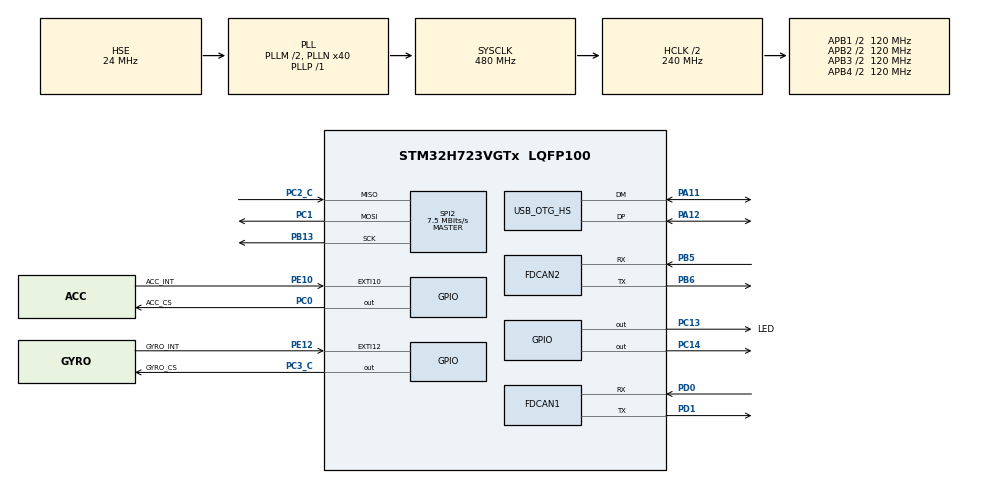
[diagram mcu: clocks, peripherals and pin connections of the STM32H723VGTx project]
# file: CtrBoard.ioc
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CORTEX_M7.CPU_DCache=Disabled
CORTEX_M7.CPU_ICache=Disabled
Dma.Request0=SPI2_RX
Dma.Request1=SPI2_TX
Dma.SPI2_RX.0.Direction=DMA_PERIPH_TO_MEMORY
Dma.SPI2_RX.0.EventEnable=DISABLE
Dma.SPI2_RX.0.FIFOMode=DMA_FIFOMODE_DISABLE
Dma.SPI2_RX.0.Instance=DMA1_Stream0
Dma.SPI2_RX.0.MemDataAlignment=DMA_MDATAALIGN_BYTE
Dma.SPI2_RX.0.MemInc=DMA_MINC_ENABLE
Dma.SPI2_RX.0.Mode=DMA_NORMAL
Dma.SPI2_RX.0.PeriphDataAlignment=DMA_PDATAALIGN_BYTE
Dma.SPI2_RX.0.PeriphInc=DMA_PINC_DISABLE
Dma.SPI2_RX.0.Polarity=HAL_DMAMUX_REQ_GEN_RISING
Dma.SPI2_RX.0.Priority=DMA_PRIORITY_VERY_HIGH
Dma.SPI2_RX.0.RequestNumber=1
Dma.SPI2_RX.0.SignalID=NONE
Dma.SPI2_RX.0.SyncEnable=DISABLE
Dma.SPI2_RX.0.SyncPolarity=HAL_DMAMUX_SYNC_NO_EVENT
Dma.SPI2_RX.0.SyncRequestNumber=1
Dma.SPI2_RX.0.SyncSignalID=NONE
Dma.SPI2_TX.1.Direction=DMA_MEMORY_TO_PERIPH
Dma.SPI2_TX.1.EventEnable=DISABLE
Dma.SPI2_TX.1.FIFOMode=DMA_FIFOMODE_DISABLE
Dma.SPI2_TX.1.Instance=DMA1_Stream1
Dma.SPI2_TX.1.MemDataAlignment=DMA_MDATAALIGN_BYTE
Dma.SPI2_TX.1.MemInc=DMA_MINC_ENABLE
Dma.SPI2_TX.1.Mode=DMA_NORMAL
Dma.SPI2_TX.1.PeriphDataAlignment=DMA_PDATAALIGN_BYTE
Dma.SPI2_TX.1.PeriphInc=DMA_PINC_DISABLE
Dma.SPI2_TX.1.Polarity=HAL_DMAMUX_REQ_GEN_RISING
Dma.SPI2_TX.1.Priority=DMA_PRIORITY_HIGH
Dma.SPI2_TX.1.RequestNumber=1
Dma.SPI2_TX.1.SignalID=NONE
Dma.SPI2_TX.1.SyncEnable=DISABLE
Dma.SPI2_TX.1.SyncPolarity=HAL_DMAMUX_SYNC_NO_EVENT
Dma.SPI2_TX.1.SyncRequestNumber=1
Dma.SPI2_TX.1.SyncSignalID=NONE
FDCAN1.AutoRetransmission=ENABLE
FDCAN1.CalculateBaudRateNominal=1000000
FDCAN1.CalculateTimeBitNominal=1000
FDCAN1.CalculateTimeQuantumNominal=12.5
FDCAN1.DataPrescaler=1
FDCAN1.DataSyncJumpWidth=2
FDCAN1.DataTimeSeg1=13
FDCAN1.DataTimeSeg2=2
FDCAN1.ExtFiltersNbr=4
FDCAN1.FrameFormat=FDCAN_FRAME_FD_BRS
FDCAN1.MessageRAMOffset=0
FDCAN1.NominalPrescaler=1
FDCAN1.NominalSyncJumpWidth=20
FDCAN1.NominalTimeSeg1=59
FDCAN1.NominalTimeSeg2=20
FDCAN1.ProtocolException=ENABLE
FDCAN1.RxBufferSize=FDCAN_DATA_BYTES_8
FDCAN1.RxBuffersNbr=2
FDCAN1.RxFifo0ElmtSize=FDCAN_DATA_BYTES_8
FDCAN1.RxFifo0ElmtsNbr=10
FDCAN1.RxFifo1ElmtSize=FDCAN_DATA_BYTES_8
FDCAN1.RxFifo1ElmtsNbr=10
FDCAN1.StdFiltersNbr=4
FDCAN1.TxBuffersNbr=10
FDCAN1.TxElmtSize=FDCAN_DATA_BYTES_8
FDCAN1.TxEventsNbr=10
FDCAN1.TxFifoQueueElmtsNbr=10
FDCAN2.AutoRetransmission=ENABLE
FDCAN2.CalculateBaudRateNominal=1000000
FDCAN2.CalculateTimeBitNominal=1000
FDCAN2.CalculateTimeQuantumNominal=12.5
FDCAN2.DataSyncJumpWidth=2
FDCAN2.DataTimeSeg1=13
FDCAN2.DataTimeSeg2=2
FDCAN2.ExtFiltersNbr=4
FDCAN2.FrameFormat=FDCAN_FRAME_FD_BRS
FDCAN2.MessageRAMOffset=1280
FDCAN2.NominalPrescaler=1
FDCAN2.NominalSyncJumpWidth=20
FDCAN2.NominalTimeSeg1=59
FDCAN2.NominalTimeSeg2=20
FDCAN2.ProtocolException=ENABLE
FDCAN2.RxBuffersNbr=2
FDCAN2.RxFifo0ElmtsNbr=10
FDCAN2.RxFifo1ElmtsNbr=10
FDCAN2.StdFiltersNbr=4
FDCAN2.TxBuffersNbr=10
FDCAN2.TxEventsNbr=10
FDCAN2.TxFifoQueueElmtsNbr=10
FREERTOS.MEMORY_ALLOCATION=1
FREERTOS.Queues01=Ctrl,16,uint16_t,0,Static,myQueue01Buffer,myQueue01ControlBlock
FREERTOS.Tasks01=defaultTask,24,128,StartDefaultTask,Default,NULL,Static,defaultTaskBuffer,defaultTaskControlBlock;Calculator,48,512,T_Calculator,Default,NULL,Static,CalculatorBuffer,CalculatorControlBlock;Motor_Control,48,512,T_Motor_Control,Default,NULL,Static,Motor_ControlBuffer,Motor_ControlControlBlock;USER,48,128,T_USER,Default,NULL,Static,USERBuffer,USERControlBlock;Sensor,48,512,T_Sensor,Default,NULL,Static,SensorBuffer,SensorControlBlock;Commu,53,256,T_Commu,Default,NULL,Static,myTask06Buffer,myTask06ControlBlock
Mcu.Family=STM32H7
Mcu.Name=STM32H723VGTx
Mcu.Package=LQFP100
NVIC.DMA1_Stream0_IRQn=true\:5\:0\:false\:false\:true\:true\:false\:true\:true
NVIC.DMA1_Stream1_IRQn=true\:5\:0\:false\:false\:true\:true\:false\:true\:true
NVIC.EXTI15_10_IRQn=true\:5\:0\:true\:false\:true\:true\:true\:true\:true
NVIC.FDCAN1_IT0_IRQn=true\:5\:0\:false\:false\:true\:true\:true\:true\:true
NVIC.FDCAN1_IT1_IRQn=true\:5\:0\:false\:false\:true\:true\:true\:true\:true
NVIC.FDCAN2_IT0_IRQn=true\:5\:0\:false\:false\:true\:true\:true\:true\:true
NVIC.FDCAN2_IT1_IRQn=true\:5\:0\:false\:false\:true\:true\:true\:true\:true
NVIC.FDCAN_CAL_IRQn=true\:5\:0\:false\:false\:true\:true\:true\:true\:true
NVIC.OTG_HS_IRQn=true\:5\:0\:false\:false\:true\:true\:true\:true\:true
NVIC.PriorityGroup=NVIC_PRIORITYGROUP_4
NVIC.SPI2_IRQn=true\:5\:0\:false\:false\:true\:true\:true\:true\:true
NVIC.TIM1_UP_IRQn=true\:15\:0\:true\:false\:true\:false\:false\:true\:true
NVIC.TIM3_IRQn=true\:5\:0\:false\:false\:true\:true\:true\:true\:true
NVIC.TIM4_IRQn=true\:5\:0\:false\:false\:true\:true\:true\:true\:true
NVIC.TimeBase=TIM1_UP_IRQn
NVIC.TimeBaseIP=TIM1
PA11.Mode=Device_Only_FS
PA11.Signal=USB_OTG_HS_DM
PA12.Mode=Device_Only_FS
PA12.Signal=USB_OTG_HS_DP
PA13(JTMS/SWDIO).Mode=Serial_Wire
PA13(JTMS/SWDIO).Signal=DEBUG_JTMS-SWDIO
PA14(JTCK/SWCLK).Mode=Serial_Wire
PA14(JTCK/SWCLK).Signal=DEBUG_JTCK-SWCLK
PB13.GPIO_Speed=GPIO_SPEED_FREQ_VERY_HIGH
PB13.Mode=Full_Duplex_Master
PB13.Signal=SPI2_SCK
PB5.Mode=FDCAN_Activate
PB5.Signal=FDCAN2_RX
PB6.Mode=FDCAN_Activate
PB6.Signal=FDCAN2_TX
PC0.GPIO_Label=ACC_CS
PC0.GPIO_Speed=GPIO_SPEED_FREQ_VERY_HIGH
PC0.PinState=GPIO_PIN_SET
PC0.Signal=GPIO_Output
PC1.GPIO_Speed=GPIO_SPEED_FREQ_VERY_HIGH
PC1.Mode=Full_Duplex_Master
PC1.Signal=SPI2_MOSI
PC13.GPIO_Label=LED
PC13.PinState=GPIO_PIN_RESET
PC13.Signal=GPIO_Output
PC14-OSC32_IN.Signal=GPIO_Output
PC2_C.GPIO_Speed=GPIO_SPEED_FREQ_VERY_HIGH
PC2_C.Mode=Full_Duplex_Master
PC2_C.Signal=SPI2_MISO
PC3_C.GPIO_Label=GYRO_CS
PC3_C.GPIO_Speed=GPIO_SPEED_FREQ_VERY_HIGH
PC3_C.PinState=GPIO_PIN_SET
PC3_C.Signal=GPIO_Output
PD0.Mode=FDCAN_Activate
PD0.Signal=FDCAN1_RX
PD1.Mode=FDCAN_Activate
PD1.Signal=FDCAN1_TX
PE10.GPIO_Label=ACC_INT
PE10.Signal=GPXTI10
PE12.GPIO_Label=GYRO_INT
PE12.Signal=GPXTI12
PH0-OSC_IN.Mode=HSE-External-Oscillator
PH0-OSC_IN.Signal=RCC_OSC_IN
PH1-OSC_OUT.Mode=HSE-External-Oscillator
PH1-OSC_OUT.Signal=RCC_OSC_OUT
ProjectManager.HeapSize=0x2000
ProjectManager.StackSize=0x400
ProjectManager.TargetToolchain=MDK-ARM V5.32
RCC.ADCFreq_Value=48375000
RCC.APB1Freq_Value=120000000
RCC.APB2Freq_Value=120000000
RCC.APB3Freq_Value=120000000
RCC.APB4Freq_Value=120000000
RCC.CortexFreq_Value=480000000
RCC.D1PPRE=RCC_APB3_DIV2
RCC.D2PPRE1=RCC_APB1_DIV2
RCC.D2PPRE2=RCC_APB2_DIV2
RCC.D3PPRE=RCC_APB4_DIV2
RCC.DIVM1=2
RCC.DIVM3=2
RCC.DIVN1=40
RCC.DIVN3=40
RCC.DIVP1=1
RCC.DIVQ1=6
RCC.HCLKFreq_Value=240000000
RCC.HPRE=RCC_HCLK_DIV2
RCC.HSE_VALUE=24000000
RCC.PLL2FRACN=0
RCC.PLL3FRACN=0
RCC.PLLFRACN=0
RCC.PLLSourceVirtual=RCC_PLLSOURCE_HSE
RCC.RCC_MCO1Source=RCC_MCO1SOURCE_HSE
RCC.RNGEnable-ClockTree=true
RCC.SPI123CLockSelection=RCC_SPI123CLKSOURCE_PLL3
RCC.SYSCLKFreq_VALUE=480000000
RCC.SYSCLKSource=RCC_SYSCLKSOURCE_PLLCLK
RCC.USBCLockSelection=RCC_USBCLKSOURCE_HSI48
RCC.USBFreq_Value=48000000
SPI2.BaudRatePrescaler=SPI_BAUDRATEPRESCALER_32
SPI2.CLKPhase=SPI_PHASE_2EDGE
SPI2.CLKPolarity=SPI_POLARITY_HIGH
SPI2.CalculateBaudRate=7.5 MBits/s
SPI2.DataSize=SPI_DATASIZE_8BIT
SPI2.Direction=SPI_DIRECTION_2LINES
SPI2.Mode=SPI_MODE_MASTER
SPI2.VirtualType=VM_MASTER
TIM3.Period=1000-1
TIM3.Prescaler=240-1
TIM4.Period=1000-1
TIM4.Prescaler=240-1
USB_DEVICE.CLASS_NAME_HS=CDC
USB_DEVICE.VirtualMode=Cdc
USB_DEVICE.VirtualModeHS=Cdc_HS
USB_OTG_HS.VirtualMode-Device_Only_FS=Device_Only_FS
VP_FREERTOS_VS_CMSIS_V2.Mode=CMSIS_V2
VP_MEMORYMAP_VS_MEMORYMAP.Mode=CurAppReg
VP_SYS_VS_tim1.Mode=TIM1
VP_TIM3_VS_ClockSourceINT.Mode=Internal
VP_TIM4_VS_ClockSourceINT.Mode=Internal
VP_USB_DEVICE_VS_USB_DEVICE_CDC_HS.Mode=CDC_HS
board=custom

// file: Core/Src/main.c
/* USER CODE BEGIN Header */
/**
 ******************************************************************************
 * @file           : main.c
 * @brief          : Main program body
 ******************************************************************************
 * @attention
 *
 * Copyright (c) 2024 STMicroelectronics.
 * All rights reserved.
 *
 * This software is licensed under terms that can be found in the LICENSE file
 * in the root directory of this software component.
 * If no LICENSE file comes with this software, it is provided AS-IS.
 *
 ******************************************************************************
 */
/* USER CODE END Header */
#include "main.h"
#include "cmsis_os.h"
#include "dma.h"
#include "fdcan.h"
#include "memorymap.h"
#include "spi.h"
#include "tim.h"
#include "usb_device.h"
#include "gpio.h"

void SystemClock_Config(void);
void MX_FREERTOS_Init(void);

int main(void)
{

    /* MCU Configuration--------------------------------------------------------*/

    /* Reset of all peripherals, Initializes the Flash interface and the Systick. */
    HAL_Init();

    /* Configure the system clock */
    SystemClock_Config();

    /* Initialize all configured peripherals */
    MX_GPIO_Init();
    MX_DMA_Init();
    MX_FDCAN1_Init();
    MX_TIM3_Init();
    MX_TIM4_Init();
    MX_FDCAN2_Init();
    MX_SPI2_Init();
    /* USER CODE BEGIN 2 */
    HAL_GPIO_WritePin(GPIOC, GPIO_PIN_13, GPIO_PIN_RESET); // Enable SPI2
    HAL_GPIO_WritePin(GPIOC, GPIO_PIN_14, GPIO_PIN_RESET); // Enable
    /* USER CODE END 2 */

    /* Init scheduler */
    osKernelInitialize();

    /* Call init function for freertos objects (in cmsis_os2.c) */
    MX_FREERTOS_Init();

    /* Start scheduler */
    osKernelStart();

    /* We should never get here as control is now taken by the scheduler */

    /* Infinite loop */
    while (1)
    {

    }
}

void SystemClock_Config(void)
{
    RCC_OscInitTypeDef RCC_OscInitStruct = {0};
    RCC_ClkInitTypeDef RCC_ClkInitStruct = {0};

    /** Supply configuration update enable
     */
    HAL_PWREx_ConfigSupply(PWR_LDO_SUPPLY);

    /** Configure the main internal regulator output voltage
     */
    __HAL_PWR_VOLTAGESCALING_CONFIG(PWR_REGULATOR_VOLTAGE_SCALE0);

    while (!__HAL_PWR_GET_FLAG(PWR_FLAG_VOSRDY))
    {
    }

    /** Initializes the RCC Oscillators according to the specified parameters
     * in the RCC_OscInitTypeDef structure.
     */
    RCC_OscInitStruct.OscillatorType = RCC_OSCILLATORTYPE_HSI48 | RCC_OSCILLATORTYPE_HSE;
    RCC_OscInitStruct.HSEState = RCC_HSE_ON;
    RCC_OscInitStruct.HSI48State = RCC_HSI48_ON;
    RCC_OscInitStruct.PLL.PLLState = RCC_PLL_ON;
    RCC_OscInitStruct.PLL.PLLSource = RCC_PLLSOURCE_HSE;
    RCC_OscInitStruct.PLL.PLLM = 2;
    RCC_OscInitStruct.PLL.PLLN = 40;
    RCC_OscInitStruct.PLL.PLLP = 1;
    RCC_OscInitStruct.PLL.PLLQ = 6;
    RCC_OscInitStruct.PLL.PLLR = 2;
    RCC_OscInitStruct.PLL.PLLRGE = RCC_PLL1VCIRANGE_3;
    RCC_OscInitStruct.PLL.PLLVCOSEL = RCC_PLL1VCOWIDE;
    RCC_OscInitStruct.PLL.PLLFRACN = 0;
    if (HAL_RCC_OscConfig(&RCC_OscInitStruct) != HAL_OK)
    {
        Error_Handler();
    }

    /** Initializes the CPU, AHB and APB buses clocks
     */
    RCC_ClkInitStruct.ClockType = RCC_CLOCKTYPE_HCLK | RCC_CLOCKTYPE_SYSCLK | RCC_CLOCKTYPE_PCLK1 | RCC_CLOCKTYPE_PCLK2 | RCC_CLOCKTYPE_D3PCLK1 | RCC_CLOCKTYPE_D1PCLK1;
    RCC_ClkInitStruct.SYSCLKSource = RCC_SYSCLKSOURCE_PLLCLK;
    RCC_ClkInitStruct.SYSCLKDivider = RCC_SYSCLK_DIV1;
    RCC_ClkInitStruct.AHBCLKDivider = RCC_HCLK_DIV2;
    RCC_ClkInitStruct.APB3CLKDivider = RCC_APB3_DIV2;
    RCC_ClkInitStruct.APB1CLKDivider = RCC_APB1_DIV2;
    RCC_ClkInitStruct.APB2CLKDivider = RCC_APB2_DIV2;
    RCC_ClkInitStruct.APB4CLKDivider = RCC_APB4_DIV2;

    if (HAL_RCC_ClockConfig(&RCC_ClkInitStruct, FLASH_LATENCY_3) != HAL_OK)
    {
        Error_Handler();
    }
}

void HAL_TIM_PeriodElapsedCallback(TIM_HandleTypeDef *htim)
{
    if (htim->Instance == TIM1)
    {
        HAL_IncTick();
    }
}

void Error_Handler(void)
{
    __disable_irq();
    while (1)
    {
    }
}

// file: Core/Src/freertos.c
/*
 * @Author: IcyClouda 2330329778@qq.com
 * @Date: 2025-06-28 05:19:17
 * @LastEditors: IcyClouda 2330329778@qq.com
 * @LastEditTime: 2025-07-02 00:06:49
 * @FilePath: \Wheeled Bipedal Robot\Core\Src\freertos.c
 * @Description: 这是默认设置,请设置`customMade`, 打开koroFileHeader查看配置 进行设置: https://github.com/OBKoro1/koro1FileHeader/wiki/%E9%85%8D%E7%BD%AE
 */
/*
 * @Author: IcyClouda 2330329778@qq.com
 * @Date: 2025-06-21 02:07:45
 * @LastEditors: IcyClouda 2330329778@qq.com
 * @LastEditTime: 2025-06-28 07:18:12
 * @FilePath: \Wheeled Bipedal Robot\Core\Src\freertos.c
 * @Description: 这是默认设置,请设置`customMade`, 打开koroFileHeader查看配置 进行设置: https://github.com/OBKoro1/koro1FileHeader/wiki/%E9%85%8D%E7%BD%AE
 */
/* USER CODE BEGIN Header */
/**
 ******************************************************************************
 * File Name          : freertos.c
 * Description        : Code for freertos applications
 ******************************************************************************
 * @attention
 *
 * Copyright (c) 2025 STMicroelectronics.
 * All rights reserved.
 *
 * This software is licensed under terms that can be found in the LICENSE file
 * in the root directory of this software component.
 * If no LICENSE file comes with this software, it is provided AS-IS.
 *
 ******************************************************************************
 */
/* USER CODE END Header */

#include "FreeRTOS.h"
#include "task.h"
#include "main.h"
#include "cmsis_os.h"

/* USER CODE BEGIN Includes */
#include "BMI088driver.h"
#include "bsp_fdcan.h"
#include "dm_motor_ctrl.h"
#include "vofa.h"
#include "usbd_cdc_if.h"
/* USER CODE END Includes */

typedef StaticTask_t osStaticThreadDef_t;
typedef StaticQueue_t osStaticMessageQDef_t;
#define USE_Reinforce_Learning 1

/* USER CODE BEGIN PM */
typedef struct
{
    float gyro[3];
    float accel[3];
    float pose[3];
    float temp;
} IMU_Dat;

typedef struct
{
    float MotorRoll;
    float MotorPitch;
    float MotorKnee;
    float MotorWheel;
} Motor_Dat;
typedef enum
{
    JointRoll = 3,
    JointPitch = 2,
    JointKnee = 1,
    JointWheel = 1
} Reduction_Ratio;

typedef struct
{
    //--------------pidp
    float kp;
    float ki;
    float kd;
    float f;
    //--------------pidv
    float dat;
    float target;
    float error;
    //----------------cal
    float integral;
    float diff;
    float l_dat;
    float l_target;
    float output;
    float PID_D;
    float PID_I;
    float PID_P;
    float l_output;
    //---------------max
    float max_output;
    float PID_P_MAX;
    float PID_I_MAX;
    float PID_D_MAX;
    float PID_INTG_MAX;
} PID_Para;
typedef enum
{
    Lost = 0,
    Established,
} Communication_Status;
typedef struct
{
    int Status; // 0: lost 1: established
    IMU_Dat IMU088;
    Motor_Dat Motor_Posi_Left;
    Motor_Dat Motor_Posi_Right;
    Motor_Dat Motor_Speed_Left;
    Motor_Dat Motor_Speed_Right;
    PID_Para PID_SPEED_Left[E_JOINT_NUM];
    PID_Para PID_SPEED_Right[E_JOINT_NUM];
    PID_Para PID_POSI_Left[E_JOINT_NUM];
    PID_Para PID_POSI_Right[E_JOINT_NUM];
    Motor_Dat Left_Motor_Torque_Output;
    Motor_Dat Right_Motor_Torque_Output;
    Motor_Dat Left_Motor_Position_Output;
    Motor_Dat Right_Motor_Position_Output;
} Sys_Dat;
/* USER CODE END PM */
/* USER CODE BEGIN Variables */
double PID_MAX(double OUTPUT, double MAX);
void PID_CAL(PID_Para *pid);
void PID_SET_P(PID_Para *pid, float KP, float KI, float KD);
void PID_INPUT_V(PID_Para *pid, float TARGET, float DAT);
void PID_SET_M(PID_Para *pid, float _PID_P_MAX, float _PID_I_MAX, float _PID_D_MAX, float _max_output, float _PID_INTG_MAX);
PID_Para PID_PITCH, PID_SPEED;
float a, b, c;
float speed = 0;
USB_TX_DataPacket Tx_data;
// float pitch_target = 0;
float Ctrl_Signal = 0;
extern int Ctrl_Count;
int Lost_Count = 0;
float DebugData[DEBUG_NUM] = {0}; // debug

Sys_Dat ROBOT;
/* USER CODE END Variables */
/* Definitions for defaultTask */
osThreadId_t defaultTaskHandle;
uint32_t defaultTaskBuffer[128];
osStaticThreadDef_t defaultTaskControlBlock;
const osThreadAttr_t defaultTask_attributes = {
    .name = "defaultTask",
    .cb_mem = &defaultTaskControlBlock,
    .cb_size = sizeof(defaultTaskControlBlock),
    .stack_mem = &defaultTaskBuffer[0],
    .stack_size = sizeof(defaultTaskBuffer),
    .priority = (osPriority_t)osPriorityNormal,
};
/* Definitions for Calculator */
osThreadId_t CalculatorHandle;
uint32_t CalculatorBuffer[512];
osStaticThreadDef_t CalculatorControlBlock;
const osThreadAttr_t Calculator_attributes = {
    .name = "Calculator",
    .cb_mem = &CalculatorControlBlock,
    .cb_size = sizeof(CalculatorControlBlock),
    .stack_mem = &CalculatorBuffer[0],
    .stack_size = sizeof(CalculatorBuffer),
    .priority = (osPriority_t)osPriorityRealtime,
};
/* Definitions for Motor_Control */
osThreadId_t Motor_ControlHandle;
uint32_t Motor_ControlBuffer[512];
osStaticThreadDef_t Motor_ControlControlBlock;
const osThreadAttr_t Motor_Control_attributes = {
    .name = "Motor_Control",
    .cb_mem = &Motor_ControlControlBlock,
    .cb_size = sizeof(Motor_ControlControlBlock),
    .stack_mem = &Motor_ControlBuffer[0],
    .stack_size = sizeof(Motor_ControlBuffer),
    .priority = (osPriority_t)osPriorityRealtime,
};
/* Definitions for USER */
osThreadId_t USERHandle;
uint32_t USERBuffer[128];
osStaticThreadDef_t USERControlBlock;
const osThreadAttr_t USER_attributes = {
    .name = "USER",
    .cb_mem = &USERControlBlock,
    .cb_size = sizeof(USERControlBlock),
    .stack_mem = &USERBuffer[0],
    .stack_size = sizeof(USERBuffer),
    .priority = (osPriority_t)osPriorityRealtime,
};
/* Definitions for Sensor */
osThreadId_t SensorHandle;
uint32_t SensorBuffer[512];
osStaticThreadDef_t SensorControlBlock;
const osThreadAttr_t Sensor_attributes = {
    .name = "Sensor",
    .cb_mem = &SensorControlBlock,
    .cb_size = sizeof(SensorControlBlock),
    .stack_mem = &SensorBuffer[0],
    .stack_size = sizeof(SensorBuffer),
    .priority = (osPriority_t)osPriorityRealtime,
};
/* Definitions for Commu */
osThreadId_t CommuHandle;
uint32_t myTask06Buffer[256];
osStaticThreadDef_t myTask06ControlBlock;
const osThreadAttr_t Commu_attributes = {
    .name = "Commu",
    .cb_mem = &myTask06ControlBlock,
    .cb_size = sizeof(myTask06ControlBlock),
    .stack_mem = &myTask06Buffer[0],
    .stack_size = sizeof(myTask06Buffer),
    .priority = (osPriority_t)osPriorityRealtime5,
};
/* Definitions for Ctrl */
osMessageQueueId_t CtrlHandle;
uint8_t myQueue01Buffer[16 * sizeof(uint16_t)];
osStaticMessageQDef_t myQueue01ControlBlock;
const osMessageQueueAttr_t Ctrl_attributes = {
    .name = "Ctrl",
    .cb_mem = &myQueue01ControlBlock,
    .cb_size = sizeof(myQueue01ControlBlock),
    .mq_mem = &myQueue01Buffer,
    .mq_size = sizeof(myQueue01Buffer)};

void StartDefaultTask(void *argument);
void T_Calculator(void *argument);
void T_Motor_Control(void *argument);
void T_USER(void *argument);
void T_Sensor(void *argument);
void T_Commu(void *argument);

extern void MX_USB_DEVICE_Init(void);
void MX_FREERTOS_Init(void); /* (MISRA C 2004 rule 8.1) */

void MX_FREERTOS_Init(void)
{

    /* Create the queue(s) */
    /* creation of Ctrl */
    CtrlHandle = osMessageQueueNew(16, sizeof(uint16_t), &Ctrl_attributes);

    /* Create the thread(s) */
    /* creation of defaultTask */
    defaultTaskHandle = osThreadNew(StartDefaultTask, NULL, &defaultTask_attributes);

    /* creation of Calculator */
    CalculatorHandle = osThreadNew(T_Calculator, NULL, &Calculator_attributes);

    /* creation of Motor_Control */
    Motor_ControlHandle = osThreadNew(T_Motor_Control, NULL, &Motor_Control_attributes);

    /* creation of USER */
    USERHandle = osThreadNew(T_USER, NULL, &USER_attributes);

    /* creation of Sensor */
    SensorHandle = osThreadNew(T_Sensor, NULL, &Sensor_attributes);

    /* creation of Commu */
    CommuHandle = osThreadNew(T_Commu, NULL, &Commu_attributes);

}

void StartDefaultTask(void *argument)
{
    /* init code for USB_DEVICE */
    MX_USB_DEVICE_Init();
    /* USER CODE BEGIN StartDefaultTask */
    /* Infinite loop */
    for (;;)
    {
        vTaskDelay(1);
    }
    /* USER CODE END StartDefaultTask */
}

/* USER CODE BEGIN Header_T_Calculator */
/**
 * @brief Function implementing the Calculator thread.
 * @param argument: Not used
 * @retval None
 */
float temp_target_left_posi[E_JOINT_NUM] = {0};
float temp_target_right_posi[E_JOINT_NUM] = {0};
/* USER CODE END Header_T_Calculator */
void T_Calculator(void *argument)
{
    /* USER CODE BEGIN T_Calculator */
    TickType_t lasttick = xTaskGetTickCount();
    volatile int ta = 1924;
    PID_SET_P(&PID_SPEED, -0, 0, 0);
    PID_SET_M(&PID_SPEED, 1.5, 0.1, 0, 1.5, 0.1);
    PID_SET_P(&PID_PITCH, 2.5, 0, 0);
    PID_SET_M(&PID_PITCH, 10, 0, 5, 5, 0);

    /* Infinite loop */
    for (;;)
    {
        if (USE_Reinforce_Learning)
        {
            ROBOT.Left_Motor_Position_Output.MotorRoll  = POLE_ROLL_L *RX_data.Re_tau[0];
            ROBOT.Left_Motor_Position_Output.MotorPitch = POLE_PITCH_L*RX_data.Re_tau[1];
            ROBOT.Left_Motor_Position_Output.MotorKnee  = POLE_KNEE_L *RX_data.Re_tau[2];
            ROBOT.Left_Motor_Position_Output.MotorWheel = POLE_WHEEL_L*RX_data.Re_tau[3];
            ROBOT.Right_Motor_Position_Output.MotorRoll = POLE_ROLL_R *RX_data.Re_tau[4];
            ROBOT.Right_Motor_Position_Output.MotorPitch= POLE_PITCH_R*RX_data.Re_tau[5];
            ROBOT.Right_Motor_Position_Output.MotorKnee = POLE_KNEE_R *RX_data.Re_tau[6];
            ROBOT.Right_Motor_Position_Output.MotorWheel= POLE_WHEEL_R*RX_data.Re_tau[7];
        }
        else
        {
            if (ROBOT.Status == Established)
            {
                temp_target_left_posi[E_ROLL] = 0.4 + c;
                temp_target_left_posi[E_PITCH] = 1.6 + a;
                temp_target_left_posi[E_KNEE] = -2.4 + b;
                temp_target_right_posi[E_ROLL] = 0.1 + c;
                temp_target_right_posi[E_PITCH] = 1.6 + a;
                temp_target_right_posi[E_KNEE] = -2.4 + b;

                PID_INPUT_V(&PID_SPEED, speed, ROBOT.Motor_Speed_Left.MotorWheel + ROBOT.Motor_Speed_Right.MotorWheel);
                PID_CAL(&PID_SPEED);
                PID_INPUT_V(&PID_PITCH, PID_SPEED.output, ROBOT.IMU088.pose[P_ROLL]);
                PID_CAL(&PID_PITCH);
                ROBOT.Left_Motor_Torque_Output.MotorWheel = -PID_PITCH.output;
                ROBOT.Right_Motor_Torque_Output.MotorWheel = -PID_PITCH.output;
                // ROBOT.Left_Motor_Torque_Output.MotorWheel = -PID_SPEED.output;
                // ROBOT.Right_Motor_Torque_Output.MotorWheel = -PID_SPEED.output;
                ROBOT.Left_Motor_Position_Output.MotorRoll = temp_target_left_posi[E_ROLL] * JointRoll;
                ROBOT.Left_Motor_Position_Output.MotorPitch = temp_target_left_posi[E_PITCH] * JointPitch;
                ROBOT.Left_Motor_Position_Output.MotorKnee = temp_target_left_posi[E_KNEE] * JointKnee;
                ROBOT.Left_Motor_Position_Output.MotorWheel = temp_target_left_posi[E_WHEEL] * JointWheel;
                ROBOT.Right_Motor_Position_Output.MotorRoll = temp_target_right_posi[E_ROLL] * JointRoll;
                ROBOT.Right_Motor_Position_Output.MotorPitch = temp_target_right_posi[E_PITCH] * JointPitch;
                ROBOT.Right_Motor_Position_Output.MotorKnee = temp_target_right_posi[E_KNEE] * JointKnee;
                ROBOT.Right_Motor_Position_Output.MotorWheel = temp_target_right_posi[E_WHEEL] * JointWheel;
            }
            else
            {
                temp_target_left_posi[E_ROLL] = ROBOT.Motor_Posi_Left.MotorRoll;
                temp_target_left_posi[E_PITCH] = ROBOT.Motor_Posi_Left.MotorPitch;
                temp_target_left_posi[E_KNEE] = ROBOT.Motor_Posi_Left.MotorKnee;
                temp_target_right_posi[E_ROLL] = ROBOT.Motor_Posi_Right.MotorRoll;
                temp_target_right_posi[E_PITCH] = ROBOT.Motor_Posi_Right.MotorPitch;
                temp_target_right_posi[E_KNEE] = ROBOT.Motor_Posi_Right.MotorKnee;
                ROBOT.Left_Motor_Torque_Output.MotorWheel = 0;
                ROBOT.Right_Motor_Torque_Output.MotorWheel = 0;
            }
            DebugData[0] = PID_PITCH.dat;
            DebugData[1] = PID_PITCH.PID_P;
            DebugData[2] = PID_PITCH.PID_D;
            DebugData[4] = PID_PITCH.output;
            DebugData[5] = ROBOT.IMU088.pose[P_ROLL];
        }
        vTaskDelay(1);
    }
    /* USER CODE END T_Calculator */
}

void T_Motor_Control(void *argument)
{
    /* USER CODE BEGIN T_Motor_Control */
    static int initialized = 0;
    vTaskDelay(500);
    bsp_fdcan_set_baud(&hfdcan1, CAN_CLASS, CAN_BR_1M);
    bsp_fdcan_set_baud(&hfdcan2, CAN_CLASS, CAN_BR_1M);
    bsp_can_init();

    dm_motor_init();
    vTaskDelay(100);
    dm_motor_disable(&hfdcan2, &L_motor[E_ROLL]);
    dm_motor_disable(&hfdcan1, &R_motor[E_ROLL]);
    vTaskDelay(1);
    dm_motor_disable(&hfdcan2, &L_motor[E_PITCH]);
    dm_motor_disable(&hfdcan1, &R_motor[E_PITCH]);
    vTaskDelay(1);
    dm_motor_disable(&hfdcan2, &L_motor[E_KNEE]);
    dm_motor_disable(&hfdcan1, &R_motor[E_KNEE]);
    vTaskDelay(1);
    dm_motor_disable(&hfdcan2, &L_motor[E_WHEEL]);
    dm_motor_disable(&hfdcan1, &R_motor[E_WHEEL]);
    /* Infinite loop */
    for (;;)
    {
        if (ROBOT.Status == Established)
        {

            if (!initialized)
            {
                dm_motor_enable(&hfdcan2, &L_motor[E_ROLL]);
                dm_motor_enable(&hfdcan1, &R_motor[E_ROLL]);
                vTaskDelay(1);
                dm_motor_enable(&hfdcan2, &L_motor[E_PITCH]);
                dm_motor_enable(&hfdcan1, &R_motor[E_PITCH]);
                vTaskDelay(1);
                dm_motor_enable(&hfdcan2, &L_motor[E_KNEE]);
                dm_motor_enable(&hfdcan1, &R_motor[E_KNEE]);
                vTaskDelay(1);
                dm_motor_enable(&hfdcan2, &L_motor[E_WHEEL]);
                dm_motor_enable(&hfdcan1, &R_motor[E_WHEEL]);
                vTaskDelay(1);
                initialized = 1; // 设置标志位
            }
            // 发送电机控制数据
            if (USE_Reinforce_Learning)
            {
                mit_ctrl(&L_motor[E_ROLL], 0, 0, ROBOT.Left_Motor_Torque_Output.MotorRoll);
                mit_ctrl(&R_motor[E_ROLL], 0, 0, ROBOT.Right_Motor_Torque_Output.MotorRoll);
                mit_ctrl(&L_motor[E_PITCH], 0, 0, ROBOT.Left_Motor_Torque_Output.MotorPitch);
                mit_ctrl(&R_motor[E_PITCH], 0, 0, ROBOT.Right_Motor_Torque_Output.MotorPitch);
                mit_ctrl(&L_motor[E_KNEE], 0, 0, ROBOT.Left_Motor_Torque_Output.MotorKnee);
                mit_ctrl(&R_motor[E_KNEE], 0, 0, ROBOT.Right_Motor_Torque_Output.MotorKnee);
                mit_ctrl(&L_motor[E_WHEEL], 0, 0, ROBOT.Left_Motor_Torque_Output.MotorWheel);
                mit_ctrl(&R_motor[E_WHEEL], 0, 0, ROBOT.Right_Motor_Torque_Output.MotorWheel);
            }
            else
            {
                mit_ctrl(&L_motor[E_ROLL], ROBOT.Left_Motor_Position_Output.MotorRoll, 0, 0);
                mit_ctrl(&R_motor[E_ROLL], -ROBOT.Right_Motor_Position_Output.MotorRoll, 0, 0);
                vTaskDelay(1);
                mit_ctrl(&L_motor[E_PITCH], ROBOT.Left_Motor_Position_Output.MotorPitch, 0, 0);
                mit_ctrl(&R_motor[E_PITCH], -ROBOT.Right_Motor_Position_Output.MotorPitch, 0, 0);
                vTaskDelay(1);
                mit_ctrl(&L_motor[E_KNEE], ROBOT.Left_Motor_Position_Output.MotorKnee, 0, 0);
                mit_ctrl(&R_motor[E_KNEE], -ROBOT.Right_Motor_Position_Output.MotorKnee, 0, 0);
                vTaskDelay(1);
                mit_ctrl(&L_motor[E_WHEEL], 0, 0, -ROBOT.Left_Motor_Torque_Output.MotorWheel);
                mit_ctrl(&R_motor[E_WHEEL], 0, 0, ROBOT.Right_Motor_Torque_Output.MotorWheel);
            }
        }

        else
        {
            initialized = 0;
            dm_motor_disable(&hfdcan2, &L_motor[E_ROLL]);
            dm_motor_disable(&hfdcan1, &R_motor[E_ROLL]);
            vTaskDelay(1);
            dm_motor_disable(&hfdcan2, &L_motor[E_PITCH]);
            dm_motor_disable(&hfdcan1, &R_motor[E_PITCH]);
            vTaskDelay(1);
            dm_motor_disable(&hfdcan2, &L_motor[E_KNEE]);
            dm_motor_disable(&hfdcan1, &R_motor[E_KNEE]);
            vTaskDelay(1);
            dm_motor_disable(&hfdcan2, &L_motor[E_WHEEL]);
            dm_motor_disable(&hfdcan1, &R_motor[E_WHEEL]);
        }
        vTaskDelay(1);
    }
    /* USER CODE END T_Motor_Control */
}

void T_USER(void *argument)
{
    /* USER CODE BEGIN T_USER */
    /* Infinite loop */
    for (;;)
    {
        vTaskDelay(1);
    }
    /* USER CODE END T_USER */
}

void T_Sensor(void *argument)
{
    /* USER CODE BEGIN T_Sensor */
    /* Infinite loop */
    vTaskDelay(500);

    while (BMI088_init())
    {
        ;
    }
    for (;;)
    {
        BMI088_read(ROBOT.IMU088.gyro, ROBOT.IMU088.accel, &ROBOT.IMU088.temp, ROBOT.IMU088.pose, 0.001);

        ROBOT.Motor_Posi_Left.MotorRoll = L_motor[E_ROLL].para.pos / JointRoll;
        ROBOT.Motor_Posi_Left.MotorPitch = L_motor[E_PITCH].para.pos / JointPitch;
        ROBOT.Motor_Posi_Left.MotorKnee = L_motor[E_KNEE].para.pos / JointKnee;
        ROBOT.Motor_Posi_Left.MotorWheel = L_motor[E_WHEEL].para.pos / JointWheel;

        ROBOT.Motor_Speed_Left.MotorRoll = L_motor[E_ROLL].para.vel / JointRoll;
        ROBOT.Motor_Speed_Left.MotorPitch = L_motor[E_PITCH].para.vel / JointPitch;
        ROBOT.Motor_Speed_Left.MotorKnee = L_motor[E_KNEE].para.vel / JointKnee;
        ROBOT.Motor_Speed_Left.MotorWheel = L_motor[E_WHEEL].para.vel / JointWheel;

        ROBOT.Motor_Posi_Right.MotorRoll = R_motor[E_ROLL].para.pos / -JointRoll;
        ROBOT.Motor_Posi_Right.MotorPitch = R_motor[E_PITCH].para.pos / -JointPitch;
        ROBOT.Motor_Posi_Right.MotorKnee = R_motor[E_KNEE].para.pos / -JointKnee;
        ROBOT.Motor_Posi_Right.MotorWheel = R_motor[E_WHEEL].para.pos / -JointWheel;

        ROBOT.Motor_Speed_Right.MotorRoll = R_motor[E_ROLL].para.vel / -JointRoll;
        ROBOT.Motor_Speed_Right.MotorPitch = R_motor[E_PITCH].para.vel / -JointPitch;
        ROBOT.Motor_Speed_Right.MotorKnee = R_motor[E_KNEE].para.vel / -JointKnee;
        ROBOT.Motor_Speed_Right.MotorWheel = R_motor[E_WHEEL].para.vel / -JointWheel;
        // vofa_demo();
        DebugData[5] = ROBOT.Left_Motor_Torque_Output.MotorWheel;
        // for (int i = 0; i < DEBUG_NUM; i++)
        //     vofa_send_data(i, DebugData[i]);
        // vofa_sendframetail();
        vTaskDelay(1);
    }
    /* USER CODE END T_Sensor */
}

int flag = 0;
void T_Commu(void *argument)
{
    /* USER CODE BEGIN T_Commu */
    static int lastCount = 0;
    uint8_t result;
    Tx_data.Head = 0x11;
    Tx_data.Tail = 0x99;
    /* Infinite loop */
    for (;;)
    {
        Tx_data.euler[0] = ROBOT.IMU088.pose[P_ROLL];
        Tx_data.euler[1] = ROBOT.IMU088.pose[P_PITCH];
        Tx_data.euler[2] = ROBOT.IMU088.pose[P_YAW];
        Tx_data.ang_vel[0] = ROBOT.IMU088.gyro[P_ROLL];
        Tx_data.ang_vel[1] = ROBOT.IMU088.gyro[P_PITCH];
        Tx_data.ang_vel[2] = ROBOT.IMU088.gyro[P_YAW];

        Tx_data.dof_pos[0] = POLE_ROLL_L * ROBOT.Motor_Posi_Left.MotorRoll;
        Tx_data.dof_pos[1] = POLE_PITCH_L * ROBOT.Motor_Posi_Left.MotorPitch;
        Tx_data.dof_pos[2] = POLE_KNEE_L * ROBOT.Motor_Posi_Left.MotorKnee;
        Tx_data.dof_pos[3] = POLE_WHEEL_L * ROBOT.Motor_Posi_Left.MotorWheel;
        Tx_data.dof_pos[4] = POLE_ROLL_R * ROBOT.Motor_Posi_Right.MotorRoll;
        Tx_data.dof_pos[5] = POLE_PITCH_R * ROBOT.Motor_Posi_Right.MotorPitch;
        Tx_data.dof_pos[6] = POLE_KNEE_R * ROBOT.Motor_Posi_Right.MotorKnee;
        Tx_data.dof_pos[7] = POLE_WHEEL_R * ROBOT.Motor_Posi_Right.MotorWheel;
        Tx_data.dof_vel[0] = POLE_ROLL_L * ROBOT.Motor_Speed_Left.MotorRoll;
        Tx_data.dof_vel[1] = POLE_PITCH_L * ROBOT.Motor_Speed_Left.MotorPitch;
        Tx_data.dof_vel[2] = POLE_KNEE_L * ROBOT.Motor_Speed_Left.MotorKnee;
        Tx_data.dof_vel[3] = POLE_WHEEL_L * ROBOT.Motor_Speed_Left.MotorWheel;
        Tx_data.dof_vel[4] = POLE_ROLL_R * ROBOT.Motor_Speed_Right.MotorRoll;
        Tx_data.dof_vel[5] = POLE_PITCH_R * ROBOT.Motor_Speed_Right.MotorPitch;
        Tx_data.dof_vel[6] = POLE_KNEE_R * ROBOT.Motor_Speed_Right.MotorKnee;
        Tx_data.dof_vel[7] = POLE_WHEEL_R * ROBOT.Motor_Speed_Right.MotorWheel;

        CDC_Transmit_HS((uint8_t *)&Tx_data,
                        sizeof(Tx_data));
        if (Ctrl_Count == lastCount)
        {
            if (Lost_Count++ > 150)
                Lost_Count = 150;
        }
        else
        {
            do
            {
                result = CDC_Transmit_HS((uint8_t *)&Tx_data,
                                         sizeof(Tx_data));
                if (result == USBD_BUSY)
                {
                    vTaskDelay(1); // 短暂延时后重试
                }
            } while (result == USBD_BUSY);

            Lost_Count = 0;
        }
        // if (Lost_Count > 100)
        //     ROBOT.Status = 0;
        // else
        ROBOT.Status = flag;

        lastCount = Ctrl_Count;
        vTaskDelay(5);
    }
    /* USER CODE END T_Commu */
}

/* USER CODE BEGIN Application */

double PID_MAX(double OUTPUT, double MAX)
{
    if (OUTPUT > MAX)
    {
        OUTPUT = MAX;
    }
    else if (OUTPUT < -MAX)
    {
        OUTPUT = -MAX;
    }
    return OUTPUT;
}
void PID_CAL(PID_Para *pid)
{
    pid->error = pid->target - pid->dat;
    pid->integral = PID_MAX(pid->integral + pid->error, pid->PID_INTG_MAX);
    if (pid->l_target != pid->target)
    {
        pid->integral = 0;
    }
    pid->diff = pid->dat - pid->l_dat;
    pid->PID_P = PID_MAX(pid->kp * pid->error, pid->PID_P_MAX);
    pid->PID_I = PID_MAX(pid->ki * pid->integral, pid->PID_I_MAX);
    pid->PID_D = PID_MAX(pid->kd * pid->diff, pid->PID_D_MAX);
    pid->output = PID_MAX(pid->PID_P + pid->PID_I - pid->PID_D + pid->f, pid->max_output);
    pid->l_target = pid->target;
    pid->l_dat = pid->dat;
    pid->l_output = pid->output;
}
void PID_SET_P(PID_Para *pid, float KP, float KI, float KD)
{
    pid->kp = KP;
    pid->ki = KI;
    pid->kd = KD;
}
void PID_INPUT_V(PID_Para *pid, float TARGET, float DAT)
{
    pid->target = TARGET;
    pid->dat = DAT;
}
void PID_SET_M(PID_Para *pid, float _PID_P_MAX, float _PID_I_MAX, float _PID_D_MAX, float _max_output, float _PID_INTG_MAX)
{
    pid->max_output = _max_output;
    pid->PID_P_MAX = _PID_P_MAX;
    pid->PID_I_MAX = _PID_I_MAX;
    pid->PID_D_MAX = _PID_D_MAX;
    pid->PID_INTG_MAX = _PID_INTG_MAX;
}
/* USER CODE END Application */
//
